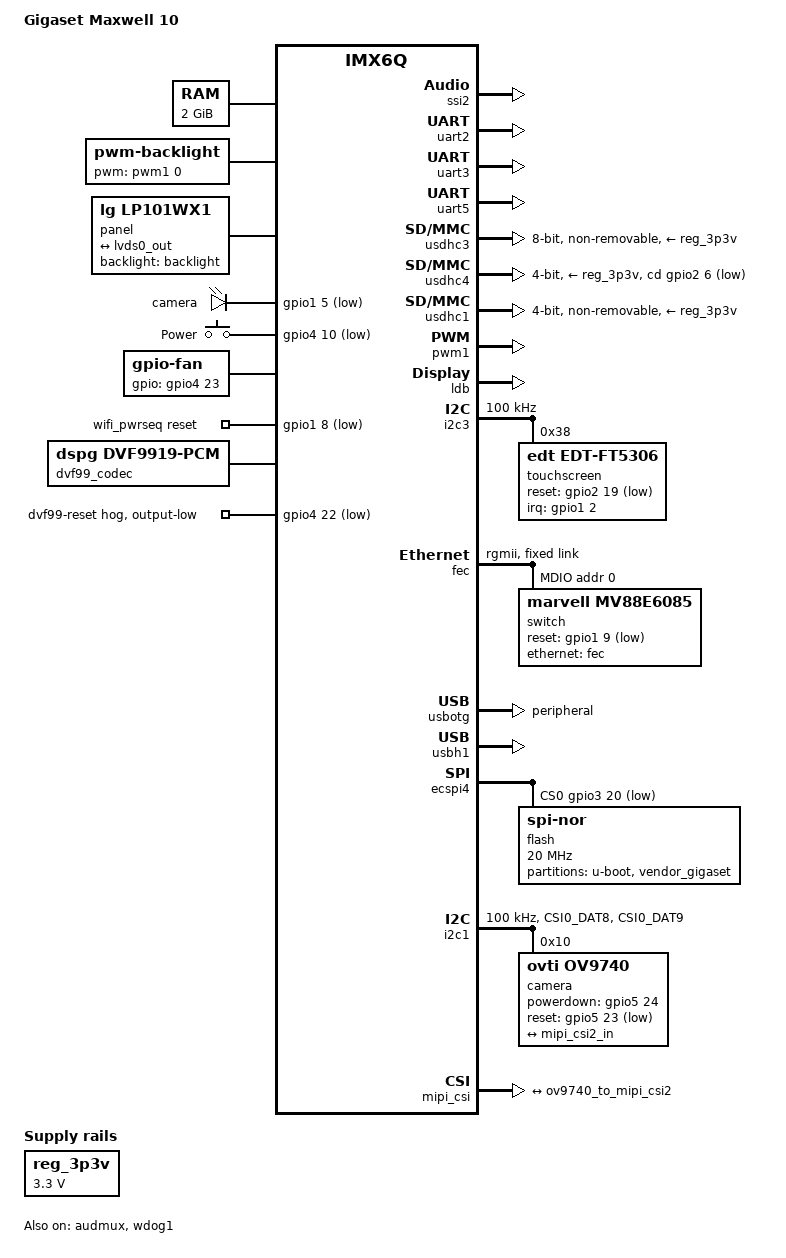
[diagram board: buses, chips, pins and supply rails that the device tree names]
// SPDX-License-Identifier: GPL-2.0
/*
 * Gigaset Maxwell 10 (carte max10, révision matérielle 9) — DT mainline
 *
 * Tout ce qui est ici vient du DT vendeur (BSP 3.14.52) extrait de
 * /proc/device-tree, voir dts/imx6q-maxwell10-vendor.dts et docs/hardware.md.
 * État de chaque bloc : docs/postmarketos.md.
 *
 * Démarrage : U-Boot vendeur → fatload go.bin (goshim + zImage + ce DTB appendé)
 * → go. L'initramfs arrive par ATAG_INITRD2 (voir tools/goshim), la ligne de
 * commande est /chosen/bootargs ci-dessous.
 */
/dts-v1/;

#include <dt-bindings/gpio/gpio.h>
#include <dt-bindings/input/input.h>
#include <dt-bindings/interrupt-controller/irq.h>
#include <dt-bindings/sound/fsl-imx-audmux.h>
#include "imx6q.dtsi"

/ {
	model = "Gigaset Maxwell 10";
	compatible = "gigaset,maxwell10", "fsl,imx6q";

	chosen {
		stdout-path = &uart2;
		/* dernière console = /dev/console : l'écran ; l'UART2 reçoit aussi les messages */
		bootargs = "console=ttymxc1,115200 console=tty0 cma=256M";
	};

	memory@10000000 {
		device_type = "memory";
		reg = <0x10000000 0x80000000>;
	};

	reg_3p3v: regulator-3p3v {
		compatible = "regulator-fixed";
		regulator-name = "3P3V";
		regulator-min-microvolt = <3300000>;
		regulator-max-microvolt = <3300000>;
		regulator-always-on;
	};

	backlight: backlight {
		compatible = "pwm-backlight";
		pwms = <&pwm1 0 50000 0>;		/* 50 µs, comme le vendeur */
		brightness-levels = <0 255>;
		num-interpolated-steps = <255>;
		default-brightness-level = <200>;
	};

	panel {
		/* LG LP101WX1 10,1" 1280×800 ; mapping « spwg » du BSP = VESA */
		compatible = "lg,lp101wx1", "panel-lvds";
		backlight = <&backlight>;
		width-mm = <217>;
		height-mm = <136>;
		data-mapping = "vesa-24";

		panel-timing {
			clock-frequency = <83500000>;
			hactive = <1280>;
			vactive = <800>;
			hfront-porch = <72>;
			hback-porch = <200>;
			hsync-len = <128>;
			vfront-porch = <22>;
			vback-porch = <3>;
			vsync-len = <6>;
			vsync-active = <1>;
		};

		port {
			panel_in: endpoint {
				remote-endpoint = <&lvds0_out>;
			};
		};
	};

	leds {
		compatible = "gpio-leds";

		/*
		 * LED de la caméra (GPIO1_IO05), active à l'état bas (constaté : niveau 0
		 * = allumée). Laissé non configuré, le pad flottait et la LED s'allumait
		 * au toucher (couplage avec l'IRQ tactile voisine).
		 */
		led-camera {
			label = "camera";
			gpios = <&gpio1 5 GPIO_ACTIVE_LOW>;
			default-state = "off";
		};
	};

	gpio-keys {
		compatible = "gpio-keys";
		pinctrl-names = "default";
		pinctrl-0 = <&pinctrl_keys>;

		key-power {
			label = "Power";
			gpios = <&gpio4 10 GPIO_ACTIVE_LOW>;
			linux,code = <KEY_POWER>;
			wakeup-source;
		};
	};

	/*
	 * Ventilateur (gpio-fan vendeur), tout ou rien. Dispositif de refroidissement
	 * (#cooling-cells) lié automatiquement à la zone imx_thermal_zone : point
	 * « actif » à Tmax - 30 °C avec 10 °C d'hystérésis (patch noyau 0002), soit
	 * 65 °C / 55 °C pour la gamme commerciale, et point passif près de la limite.
	 */
	fan: fan {
		compatible = "gpio-fan";
		gpios = <&gpio4 23 GPIO_ACTIVE_HIGH>;
		gpio-fan,speed-map = <0 0>, <3000 1>;
		#cooling-cells = <2>;
	};

	/* Wi-Fi AR6003 : reset GPIO1_IO08 actif bas (gpio-reset vendeur, 10 ms) */
	wifi_pwrseq: wifi-pwrseq {
		compatible = "mmc-pwrseq-simple";
		reset-gpios = <&gpio1 8 GPIO_ACTIVE_LOW>;
		post-power-on-delay-ms = <10>;
	};
	/*
	 * Audio de la DVF9919 (haut-parleur, micros, combiné DECT) : pas de codec
	 * I2C, l'AFE est piloté par CMBS sur l'UART3 (dvf99.service). Le flux PCM
	 * passe en TDM sur SSI2 ↔ AUDMUX port 2 ↔ port 4 (pads SD2_DAT0..3).
	 * HELLO CMBS d'Android : DVF99 maître TDM, PCM 2,048 MHz, soit une trame
	 * 8 kHz de 32 octets = 16 mots de 16 bits ; synchro mesurée : impulsion
	 * positive d'un bit. Échantillons 16 bits, poids fort en premier.
	 * Disposition d'Android (PCM linéaire 16 kHz = 2 mots consécutifs) :
	 * mots 0-1 appel du combiné (la base l'impose au slot 0), 2-3 tweeter
	 * (classe D), 4-5 woofer. ALSA : 8 kHz, 6 voies ; dvf99 -A reforme les
	 * flux 16 kHz pour PulseAudio. Voir docs/dect-cmbs.md.
	 */
	dvf99_codec: dvf99-codec {
		compatible = "dspg,dvf9919-pcm";
		#sound-dai-cells = <0>;
	};

	sound-dvf99 {
		compatible = "simple-audio-card";
		simple-audio-card,name = "DVF99";
		/* mis au point à chaud avec tools/ssireg : STCR = 0x280 (synchro au
		 * début du premier bit, données sur le front descendant) */
		simple-audio-card,format = "left_j";
		simple-audio-card,bitclock-inversion;
		simple-audio-card,bitclock-master = <&dvf99_link_codec>;
		simple-audio-card,frame-master = <&dvf99_link_codec>;

		simple-audio-card,cpu {
			sound-dai = <&ssi2>;
			dai-tdm-slot-num = <16>;
			dai-tdm-slot-width = <16>;
			dai-tdm-slot-tx-mask = <1 1 1 1 1 1 0 0 0 0 0 0 0 0 0 0>;
			dai-tdm-slot-rx-mask = <1 1 1 1 1 1 0 0 0 0 0 0 0 0 0 0>;
		};

		dvf99_link_codec: simple-audio-card,codec {
			sound-dai = <&dvf99_codec>;
		};
	};
};

&ssi2 {
	status = "okay";
};

/* SSI2 (port 2) esclave : horloges et synchro reçues du port 4 (DVF99) */
&audmux {
	pinctrl-names = "default";
	pinctrl-0 = <&pinctrl_audmux>;
	status = "okay";

	mux-ssi2 {
		fsl,audmux-port = <MX51_AUDMUX_PORT2_SSI1>;
		fsl,port-config = <
			(IMX_AUDMUX_V2_PTCR_SYN |
			 IMX_AUDMUX_V2_PTCR_TFSDIR |
			 IMX_AUDMUX_V2_PTCR_TFSEL(MX51_AUDMUX_PORT4) |
			 IMX_AUDMUX_V2_PTCR_TCLKDIR |
			 IMX_AUDMUX_V2_PTCR_TCSEL(MX51_AUDMUX_PORT4))
			IMX_AUDMUX_V2_PDCR_RXDSEL(MX51_AUDMUX_PORT4)
		>;
	};

	mux-dvf99 {
		fsl,audmux-port = <MX51_AUDMUX_PORT4>;
		fsl,port-config = <
			IMX_AUDMUX_V2_PTCR_SYN
			IMX_AUDMUX_V2_PDCR_RXDSEL(MX51_AUDMUX_PORT2_SSI1)
		>;
	};
};

&gpio4 {
	/*
	 * GPIO4_IO22 = reset de la DVF99 (DECT + audio), actif bas. La DVF99 fournit
	 * l'horloge du switch Ethernet (cartes rév. ≤ 11) : on la tient HORS reset
	 * en permanence. Sans ce hog, le pad DISP0_DAT1 restait sur sa fonction par
	 * défaut (donnée d'affichage IPU1) et le niveau du reset n'était pas maîtrisé.
	 * Un futur pilote DECT pourra reprendre la ligne. Voir docs/hardware.md.
	 */
	/*
	 * Bluetooth Atheros AR3002 sur UART5 (protocole ATH3K, pas de liaison
	 * serdev en mainline : hciattach, maxwell-bluetooth.service). Alimentation
	 * GPIO4_IO07 : niveau HAUT = module en marche. Pas de hog : le service coupe
	 * l'alimentation avant chaque hciattach (gpioset), sinon une puce restée à
	 * 3 Mbit/s après un échec ne répond plus jamais à 115200.
	 */
	dvf99-reset-hog {
		gpio-hog;
		gpios = <22 GPIO_ACTIVE_LOW>;
		output-low;			/* logique : reset relâché (niveau haut) */
		line-name = "dvf99-reset";
	};
};

&uart2 {
	pinctrl-names = "default";
	pinctrl-0 = <&pinctrl_uart2>;
	status = "okay";
};

/*
 * DVF9919 (DECT + audio) : console de son U-Boot puis protocole CMBS,
 * 115200 8N1 sans contrôle de flux. Piloté en espace utilisateur (tools/dvf99).
 */
&uart3 {
	pinctrl-names = "default";
	pinctrl-0 = <&pinctrl_uart3>;
	status = "okay";
};

/*
 * AR3002 : 115200 au démarrage, contrôle de flux matériel. Le nœud UART5 du DT
 * vendeur utilise le groupe « uart5grp-1 » en mode DCE (sans fsl,dte-mode) ;
 * le groupe DTE, présent mais inutilisé, croisait TX/RX (hciattach : timeout).
 */
&uart5 {
	pinctrl-names = "default";
	pinctrl-0 = <&pinctrl_uart5>;
	uart-has-rtscts;
	status = "okay";
};

/* eMMC SEM04G, 8 bits — Android intact dessus, on n'y écrit pas */
&usdhc3 {
	pinctrl-names = "default";
	pinctrl-0 = <&pinctrl_usdhc3>;
	bus-width = <8>;
	non-removable;
	no-1-8-v;
	vmmc-supply = <&reg_3p3v>;
	status = "okay";
};

/* microSD (sous un cache) : boot + rootfs postmarketOS */
&usdhc4 {
	pinctrl-names = "default";
	pinctrl-0 = <&pinctrl_usdhc4>;
	bus-width = <4>;
	cd-gpios = <&gpio2 6 GPIO_ACTIVE_LOW>;
	disable-wp;
	no-1-8-v;
	vmmc-supply = <&reg_3p3v>;
	status = "okay";
};

/* Wi-Fi Atheros AR6003 en SDIO (ath6kl_sdio, firmware ath6k/AR6003/hw2.1.1) */
&usdhc1 {
	pinctrl-names = "default";
	pinctrl-0 = <&pinctrl_usdhc1>;
	bus-width = <4>;
	non-removable;
	keep-power-in-suspend;
	no-1-8-v;
	vmmc-supply = <&reg_3p3v>;
	mmc-pwrseq = <&wifi_pwrseq>;
	status = "okay";
};

&pwm1 {
	pinctrl-names = "default";
	pinctrl-0 = <&pinctrl_pwm1>;
	status = "okay";
};

&ldb {
	status = "okay";

	lvds-channel@0 {
		fsl,data-mapping = "spwg";
		fsl,data-width = <24>;
		status = "okay";

		port@4 {
			reg = <4>;

			lvds0_out: endpoint {
				remote-endpoint = <&panel_in>;
			};
		};
	};
};

/* Tactile FocalTech FT5x06 */
&i2c3 {
	clock-frequency = <100000>;
	pinctrl-names = "default";
	pinctrl-0 = <&pinctrl_i2c3>;
	status = "okay";

	touchscreen@38 {
		compatible = "edt,edt-ft5306";
		reg = <0x38>;
		pinctrl-names = "default";
		pinctrl-0 = <&pinctrl_touch>;
		interrupt-parent = <&gpio1>;
		interrupts = <2 IRQ_TYPE_EDGE_FALLING>;
		reset-gpios = <&gpio2 19 GPIO_ACTIVE_LOW>;
		touchscreen-size-x = <1280>;
		touchscreen-size-y = <800>;
	};
};

/*
 * Ethernet : FEC en RGMII, lien fixe 1 Gb/s vers le port CPU (5) d'un switch
 * Marvell 88E6320 ; ports utilisateur 3 (« lan ») et 4 (« pc », passthrough PC).
 * Délais RGMII à confirmer sur matériel (le vendeur déclare « rgmii » côté FEC).
 */
&fec {
	pinctrl-names = "default";
	pinctrl-0 = <&pinctrl_enet>;
	phy-mode = "rgmii";
	status = "okay";

	fixed-link {
		speed = <1000>;
		full-duplex;
	};

	mdio {
		#address-cells = <1>;
		#size-cells = <0>;

		switch@0 {
			compatible = "marvell,mv88e6085";
			reg = <0>;
			pinctrl-names = "default";
			pinctrl-0 = <&pinctrl_switch>;
			reset-gpios = <&gpio1 9 GPIO_ACTIVE_LOW>;

			ethernet-ports {
				#address-cells = <1>;
				#size-cells = <0>;

				ethernet-port@3 {
					reg = <3>;
					label = "lan";
				};

				ethernet-port@4 {
					reg = <4>;
					label = "pc";
				};

				ethernet-port@5 {
					reg = <5>;
					ethernet = <&fec>;
					/* le FEC i.MX6 n'a pas de délai interne : le switch les ajoute */
					phy-mode = "rgmii-id";

					fixed-link {
						speed = <1000>;
						full-duplex;
					};
				};
			};
		};
	};
};

/* Mini-USB caché (OTG) : gadget USB pour le réseau USB de postmarketOS */
&usbotg {
	pinctrl-names = "default";
	pinctrl-0 = <&pinctrl_usbotg>;
	dr_mode = "peripheral";
	disable-over-current;
	status = "okay";
};

/* Hôte : hub SMSC USB2512, 2 ports A */
&usbh1 {
	disable-over-current;
	status = "okay";
};

/* Le watchdog est peut-être déjà armé par U-Boot : le noyau doit le servir */
&wdog1 {
	status = "okay";
};

/* NOR SPI W25Q16 (U-Boot + jffs2 vendor_gigaset) — en lecture seule */
&ecspi4 {
	pinctrl-names = "default";
	pinctrl-0 = <&pinctrl_ecspi4>;
	cs-gpios = <&gpio3 20 GPIO_ACTIVE_LOW>;
	status = "okay";

	flash@0 {
		compatible = "jedec,spi-nor";
		reg = <0>;
		spi-max-frequency = <20000000>;

		partitions {
			compatible = "fixed-partitions";
			#address-cells = <1>;
			#size-cells = <1>;

			partition@0 {
				label = "u-boot";
				reg = <0x0 0x100000>;
				read-only;
			};

			partition@100000 {
				label = "vendor_gigaset";
				reg = <0x100000 0x100000>;
				read-only;
			};
		};
	};
};

/*
 * Caméra OmniVision OV9740 (720p YUV, MIPI CSI-2 une voie) sur i2c1 @ 0x10.
 * Horloge 24 MHz : CKO (sortie CCM_CLKO1, pads GPIO_0 et CSI0_MCLK comme le
 * DT vendeur) prise sur l'oscillateur via CKO2. Alimentations : régulateurs
 * fixes toujours actifs (1,8 V / 2,8 V) chez le vendeur, donc rien à piloter.
 * Pilote : patch noyau 0004 (ov9740), chaîne imx-media :
 * ov9740 → imx6-mipi-csi2 (VC0) → ipu1_csi0_mux → ipu1_csi0. Voir docs/camera.md.
 */
&i2c1 {
	clock-frequency = <100000>;
	pinctrl-names = "default";
	pinctrl-0 = <&pinctrl_i2c1>;
	status = "okay";

	camera@10 {
		compatible = "ovti,ov9740";
		reg = <0x10>;
		pinctrl-names = "default";
		pinctrl-0 = <&pinctrl_ov9740>;
		clocks = <&clks IMX6QDL_CLK_CKO>;
		assigned-clocks = <&clks IMX6QDL_CLK_CKO2_SEL>, <&clks IMX6QDL_CLK_CKO>;
		assigned-clock-parents = <&clks IMX6QDL_CLK_OSC>, <&clks IMX6QDL_CLK_CKO2>;
		powerdown-gpios = <&gpio5 24 GPIO_ACTIVE_HIGH>;
		reset-gpios = <&gpio5 23 GPIO_ACTIVE_LOW>;

		port {
			ov9740_to_mipi_csi2: endpoint {
				remote-endpoint = <&mipi_csi2_in>;
				clock-lanes = <0>;
				data-lanes = <1>;
			};
		};
	};
};

&mipi_csi {
	status = "okay";

	port@0 {
		reg = <0>;

		mipi_csi2_in: endpoint {
			remote-endpoint = <&ov9740_to_mipi_csi2>;
			clock-lanes = <0>;
			data-lanes = <1>;
		};
	};
};

&iomuxc {
	pinctrl-names = "default";
	pinctrl-0 = <&pinctrl_hog>;

	pinctrl_hog: hoggrp {
		fsl,pins = <
			0x178 0x48c 0x000 0x5 0x0 0xb0b1	/* DISP0_DAT2 = GPIO4_IO23, ventilateur */
			0x1fc 0x5cc 0x000 0x5 0x0 0xb0b0	/* KEY_ROW0 = GPIO4_IO07, alimentation Bluetooth */
			0x244 0x614 0x000 0x5 0x0 0xb0b0	/* GPIO_8 = GPIO1_IO08, reset Wi-Fi */
			0x23c 0x60c 0x000 0x5 0x0 0x1b0b0	/* GPIO_5 = GPIO1_IO05, LED caméra (active basse), pull-up */
			0x174 0x488 0x000 0x5 0x0 0x0b0b0	/* DISP0_DAT1 = GPIO4_IO22, reset DVF99 (cf. vendeur) */
			0x17c 0x490 0x000 0x5 0x0 0x1b0b0	/* DISP0_DAT3 = GPIO4_IO24, détection PoE (entrée) */
			0x1f8 0x5c8 0x000 0x5 0x0 0x0b0b0	/* KEY_COL0 = GPIO4_IO06, GPIO vendeur sans pilote
							   (piste : activation de l'ampli HP) — libre pour essais */
		>;
	};

	pinctrl_uart5: uart5grp {
		/* valeurs du groupe actif du DT vendeur (uart5grp-1, DCE) */
		fsl,pins = <
			0x200 0x5d0 0x000 0x4 0x0 0x1b0b1	/* KEY_COL1 UART5_TX */
			0x204 0x5d4 0x940 0x4 0x1 0x1b0b1	/* KEY_ROW1 UART5_RX */
			0x218 0x5e8 0x93c 0x4 0x0 0x1b0b1	/* KEY_COL4 UART5_RTS_B (entrée en DCE) */
			0x21c 0x5ec 0x000 0x4 0x0 0x1b0b1	/* KEY_ROW4 UART5_CTS_B */
		>;
	};

	pinctrl_uart3: uart3grp {
		fsl,pins = <
			0x0b4 0x3c8 0x000 0x2 0x0 0x1b0b1	/* EIM_D24 UART3_TX */
			0x0b8 0x3cc 0x930 0x2 0x1 0x1b0b1	/* EIM_D25 UART3_RX */
		>;
	};

	pinctrl_uart2: uart2grp {
		fsl,pins = <
			0x0bc 0x3d0 0x000 0x4 0x0 0x1b0b1
			0x0c0 0x3d4 0x928 0x4 0x1 0x1b0b1
		>;
	};

	pinctrl_usdhc1: usdhc1grp {
		fsl,pins = <
			0x348 0x730 0x000 0x0 0x0 0x17059	/* SD1_CMD */
			0x350 0x738 0x000 0x0 0x0 0x10059	/* SD1_CLK */
			0x340 0x728 0x000 0x0 0x0 0x17059	/* SD1_DAT0 */
			0x33c 0x724 0x000 0x0 0x0 0x17059	/* SD1_DAT1 */
			0x34c 0x734 0x000 0x0 0x0 0x17059	/* SD1_DAT2 */
			0x344 0x72c 0x000 0x0 0x0 0x17059	/* SD1_DAT3 */
		>;
	};

	pinctrl_usdhc3: usdhc3grp {
		fsl,pins = <
			0x2b8 0x6a0 0x000 0x0 0x0 0x17059
			0x2bc 0x6a4 0x000 0x0 0x0 0x10059
			0x2c0 0x6a8 0x000 0x0 0x0 0x17059
			0x2c4 0x6ac 0x000 0x0 0x0 0x17059
			0x2c8 0x6b0 0x000 0x0 0x0 0x17059
			0x2cc 0x6b4 0x000 0x0 0x0 0x17059
			0x2b4 0x69c 0x000 0x0 0x0 0x17059
			0x2b0 0x698 0x000 0x0 0x0 0x17059
			0x2ac 0x694 0x000 0x0 0x0 0x17059
			0x2a8 0x690 0x000 0x0 0x0 0x17059
			0x2d0 0x6b8 0x000 0x0 0x0 0x17059
		>;
	};

	pinctrl_usdhc4: usdhc4grp {
		fsl,pins = <
			0x2f4 0x6dc 0x000 0x0 0x0 0x17075	/* SD4_CMD */
			0x2f8 0x6e0 0x000 0x0 0x0 0x10075	/* SD4_CLK */
			0x31c 0x704 0x000 0x1 0x0 0x17075	/* SD4_DAT0 */
			0x320 0x708 0x000 0x1 0x0 0x17075	/* SD4_DAT1 */
			0x324 0x70c 0x000 0x1 0x0 0x17075	/* SD4_DAT2 */
			0x328 0x710 0x000 0x1 0x0 0x17075	/* SD4_DAT3 */
			0x314 0x6fc 0x000 0x5 0x0 0x1b0b0	/* NANDF_D6 = GPIO2_IO06, détection carte */
		>;
	};

	pinctrl_pwm1: pwm1grp {
		fsl,pins = <
			0x190 0x4a4 0x000 0x2 0x0 0x1b0b1	/* DISP0_DAT8 PWM1_OUT */
		>;
	};

	pinctrl_i2c3: i2c3grp {
		fsl,pins = <
			0x22c 0x5fc 0x8a8 0x2 0x1 0x4001b8b1	/* GPIO_3 I2C3_SCL */
			0x230 0x600 0x8ac 0x2 0x1 0x4001b8b1	/* GPIO_6 I2C3_SDA */
		>;
	};

	pinctrl_touch: touchgrp {
		fsl,pins = <
			0x234 0x604 0x000 0x5 0x0 0xb0b0	/* GPIO_2 = GPIO1_IO02, IRQ */
			0x0e8 0x3fc 0x000 0x5 0x0 0xb0b1	/* EIM_A19 = GPIO2_IO19, reset */
		>;
	};

	pinctrl_keys: keysgrp {
		fsl,pins = <
			0x208 0x5d8 0x000 0x5 0x0 0x1b0b0	/* KEY_COL2 = GPIO4_IO10, power */
		>;
	};

	pinctrl_enet: enetgrp {
		fsl,pins = <
			0x1d0 0x4e4 0x840 0x1 0x0 0x1b0b0	/* ENET_MDIO */
			0x1f4 0x508 0x000 0x1 0x0 0x1b0b0	/* ENET_MDC */
			0x058 0x36c 0x000 0x1 0x0 0x1b0b0	/* RGMII_TXC */
			0x05c 0x370 0x000 0x1 0x0 0x1b0b0	/* RGMII_TD0 */
			0x060 0x374 0x000 0x1 0x0 0x1b0b0	/* RGMII_TD1 */
			0x064 0x378 0x000 0x1 0x0 0x1b0b0	/* RGMII_TD2 */
			0x068 0x37c 0x000 0x1 0x0 0x1b0b0	/* RGMII_TD3 */
			0x074 0x388 0x000 0x1 0x0 0x1b0b0	/* RGMII_TX_CTL */
			0x084 0x398 0x844 0x1 0x0 0x1b0b0	/* RGMII_RXC */
			0x070 0x384 0x848 0x1 0x0 0x1b0b0	/* RGMII_RD0 */
			0x078 0x38c 0x84c 0x1 0x0 0x1b0b0	/* RGMII_RD1 */
			0x07c 0x390 0x850 0x1 0x0 0x1b0b0	/* RGMII_RD2 */
			0x080 0x394 0x854 0x1 0x0 0x1b0b0	/* RGMII_RD3 */
			0x06c 0x380 0x858 0x1 0x0 0x1b0b0	/* RGMII_RX_CTL */
			0x1d4 0x4e8 0x000 0x1 0x0 0x0a0b1	/* ENET_REF_CLK */
		>;
	};

	pinctrl_switch: switchgrp {
		fsl,pins = <
			0x228 0x5f8 0x000 0x5 0x0 0xb0b1	/* GPIO_9 = GPIO1_IO09, reset switch */
			0x1e0 0x4f4 0x000 0x5 0x0 0x1b0b0	/* ENET_RXD1 = GPIO1_IO26, IRQ switch ? */
		>;
	};

	pinctrl_usbotg: usbotggrp {
		fsl,pins = <
			0x224 0x5f4 0x004 0x3 0xff0d0101 0x17059	/* GPIO_1 USB_OTG_ID (via GPR1) */
		>;
	};

	/* AUD4 ↔ DVF99 (TDM), réglages des pads du DT vendeur */
	pinctrl_audmux: audmuxgrp {
		fsl,pins = <
			MX6QDL_PAD_SD2_DAT0__AUD4_RXD	0x1b0b0
			MX6QDL_PAD_SD2_DAT3__AUD4_TXC	0x1b0b0
			MX6QDL_PAD_SD2_DAT2__AUD4_TXD	0x1b0b0
			MX6QDL_PAD_SD2_DAT1__AUD4_TXFS	0x1b0b0
		>;
	};

	pinctrl_i2c1: i2c1grp {
		fsl,pins = <
			MX6QDL_PAD_CSI0_DAT8__I2C1_SDA		0x4001b8b1
			MX6QDL_PAD_CSI0_DAT9__I2C1_SCL		0x4001b8b1
		>;
	};

	/* horloge et commandes de l'OV9740 (réglages de pads laissés au défaut, comme le vendeur) */
	pinctrl_ov9740: ov9740grp {
		fsl,pins = <
			MX6QDL_PAD_GPIO_0__CCM_CLKO1		0x80000000
			MX6QDL_PAD_CSI0_MCLK__CCM_CLKO1		0x80000000
			MX6QDL_PAD_CSI0_DAT6__GPIO5_IO24	0x80000000	/* PWDN */
			MX6QDL_PAD_CSI0_DAT5__GPIO5_IO23	0x80000000	/* RESET */
		>;
	};

	pinctrl_ecspi4: ecspi4grp {
		fsl,pins = <
			0x0a8 0x3bc 0x000 0x1 0x0 0x100b1	/* EIM_D21 ECSPI4_SCLK */
			0x0c4 0x3d8 0x000 0x2 0x0 0x100b1	/* EIM_D28 ECSPI4_MOSI */
			0x0a4 0x3b8 0x000 0x1 0x0 0x100b1	/* EIM_D22 ECSPI4_MISO */
			0x0a0 0x3b4 0x000 0x5 0x0 0x0b0b1	/* EIM_D20 GPIO3_IO20 (CS) */
		>;
	};
};
